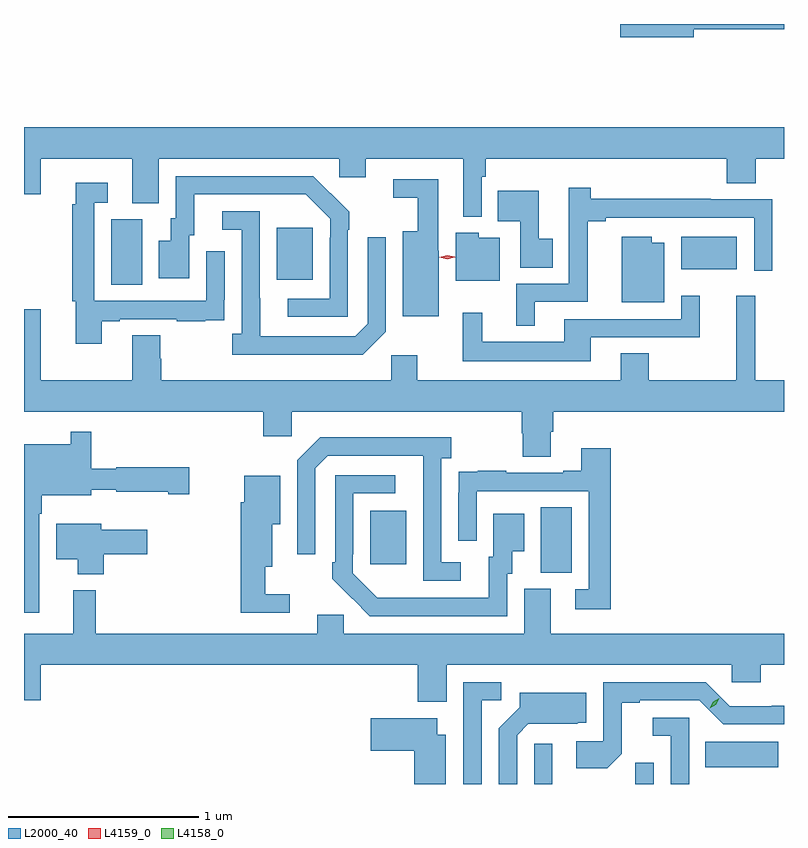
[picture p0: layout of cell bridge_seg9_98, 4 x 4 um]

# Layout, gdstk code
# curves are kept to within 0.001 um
import gdstk
lib = gdstk.Library(unit=1e-6, precision=1e-09)
def R(c, l, rs):  # rectangles x0, y0, x1, y1
    for r in rs: c.add(gdstk.rectangle(r[:2], r[2:], *l))
def P(c, l, *ps):  # polygons
    for p in ps: c.add(gdstk.Polygon(p, *l))
L2000_40 = (2000, 40)
L4158_0 = (4158, 0)
L4159_0 = (4159, 0)

bridge_seg9_98 = lib.new_cell('bridge_seg9_98')
R(bridge_seg9_98, L2000_40, [(647.289,1175.812,647.385,1176.025), (647.821,1175.812,647.919,1175.924), (648.19,1175.9,648.574,1176.034), (647.324,1176.925,647.488,1177.268), (646.427,1176.969,646.615,1177.249), (645.062,1178.44,645.226,1178.784), (645.935,1178.465,646.123,1178.74), (648.062,1178.522,648.355,1178.692)])
P(bridge_seg9_98, L2000_40, [(648.13,1179.784),(648.604,1179.784),(648.604,1179.812),(647.742,1179.812),(647.742,1179.742),(648.13,1179.742)],
  [(647.013,1179.008),(647.033,1179.008),(647.033,1179.104),(648.302,1179.104),(648.302,1178.974),(648.454,1178.974),(648.454,1179.104),(648.604,1179.104),(648.604,1179.268),(644.604,1179.268),(644.604,1178.916),(644.692,1178.916),(644.692,1179.104),(645.173,1179.104),(645.173,1178.869),(645.313,1178.869),(645.313,1179.104),(646.263,1179.104),(646.263,1179.006),(646.402,1179.006),(646.402,1179.104),(646.916,1179.104),(646.916,1178.798),(647.013,1178.798)],
  [(646.308,1178.729),(646.316,1178.729),(646.316,1178.824),(646.126,1179.012),(645.402,1179.012),(645.402,1178.79),(645.377,1178.79),(645.377,1178.671),(645.314,1178.671),(645.314,1178.475),(645.475,1178.475),(645.475,1178.7),(645.499,1178.7),(645.499,1178.916),(646.087,1178.916),(646.215,1178.787),(646.215,1178.687),(646.212,1178.687),(646.212,1178.367),(645.993,1178.367),(645.993,1178.271),(646.308,1178.271)],
  [(646.786,1178.618),(646.785,1178.618),(646.785,1178.994),(646.548,1178.994),(646.548,1178.897),(646.677,1178.897),(646.677,1178.722),(646.598,1178.722),(646.598,1178.273),(646.786,1178.273)],
  [(645.013,1178.247),(645.109,1178.247),(645.109,1178.259),(645.409,1178.259),(645.409,1178.247),(645.557,1178.247),(645.557,1178.253),(645.659,1178.253),(645.659,1178.362),(645.66,1178.362),(645.66,1178.617),(645.564,1178.617),(645.564,1178.355),(644.973,1178.355),(644.973,1178.871),(645.046,1178.871),(645.046,1178.977),(644.876,1178.977),(644.876,1178.864),(644.857,1178.864),(644.857,1178.352),(644.876,1178.352),(644.876,1178.13),(645.013,1178.13)],
  [(647.293,1178.349),(647.57,1178.349),(647.57,1178.773),(647.665,1178.773),(647.665,1178.793),(648.447,1178.793),(648.447,1178.514),(648.543,1178.514),(648.543,1178.889),(648.218,1178.889),(648.218,1178.891),(647.588,1178.891),(647.588,1178.95),(647.472,1178.95),(647.472,1178.445),(647.195,1178.445),(647.195,1178.225),(647.293,1178.225)],
  [(647.387,1178.682),(647.314,1178.682),(647.314,1178.935),(647.098,1178.935),(647.098,1178.774),(647.217,1178.774),(647.217,1178.53),(647.387,1178.53)],
  [(646.509,1178.193),(646.509,1178.689),(646.413,1178.689),(646.413,1178.235),(646.347,1178.169),(645.847,1178.169),(645.846,1178.826),(645.648,1178.826),(645.648,1178.73),(645.75,1178.73),(645.75,1178.182),(645.699,1178.182),(645.699,1178.072),(646.388,1178.072)],
  [(647.107,1178.686),(646.998,1178.686),(646.998,1178.713),(646.877,1178.713),(646.877,1178.462),(647.107,1178.462)],
  [(647.974,1178.662),(647.908,1178.662),(647.908,1178.692),(647.75,1178.692),(647.75,1178.348),(647.974,1178.348)],
  [(647.587,1178.163),(648.161,1178.163),(648.161,1178.383),(648.063,1178.383),(648.063,1178.259),(647.447,1178.259),(647.447,1178.14),(647.017,1178.14),(647.017,1178.293),(646.913,1178.293),(646.913,1178.036),(647.587,1178.036)],
  [(647.377,1177.666),(647.39,1177.666),(647.39,1177.772),(648.604,1177.772),(648.604,1177.936),(648.452,1177.936),(648.452,1178.383),(648.353,1178.383),(648.353,1177.936),(647.892,1177.936),(647.892,1178.078),(647.744,1178.078),(647.744,1177.936),(646.675,1177.936),(646.675,1178.068),(646.536,1178.068),(646.536,1177.936),(645.326,1177.936),(645.326,1178.049),(645.321,1178.049),(645.321,1178.174),(645.173,1178.174),(645.173,1177.936),(644.692,1177.936),(644.692,1178.311),(644.604,1178.311),(644.604,1177.772),(645.863,1177.772),(645.863,1177.641),(646.014,1177.641),(646.014,1177.772),(647.225,1177.772),(647.225,1177.659),(647.23,1177.659),(647.23,1177.534),(647.377,1177.534)],
  [(644.685,1177.235),(644.698,1177.235),(644.698,1177.331),(644.959,1177.331),(644.959,1177.361),(645.09,1177.361),(645.09,1177.349),(645.362,1177.349),(645.362,1177.337),(645.475,1177.337),(645.475,1177.479),(645.09,1177.479),(645.09,1177.471),(644.959,1177.471),(644.959,1177.666),(644.85,1177.666),(644.85,1177.6),(644.604,1177.6),(644.604,1176.714),(644.685,1176.714)],
  [(646.903,1176.978),(646.8,1176.978),(646.8,1177.526),(646.852,1177.526),(646.852,1177.636),(646.162,1177.636),(646.041,1177.515),(646.041,1177.02),(646.137,1177.02),(646.137,1177.473),(646.203,1177.539),(646.704,1177.539),(646.704,1176.882),(646.903,1176.882)],
  [(647.693,1177.579),(647.537,1177.579),(647.537,1177.462),(647.441,1177.462),(647.441,1177.449),(647.141,1177.449),(647.141,1177.462),(646.993,1177.462),(646.993,1177.455),(646.891,1177.455),(646.891,1177.346),(646.89,1177.346),(646.89,1177.092),(646.986,1177.092),(646.986,1177.353),(647.577,1177.353),(647.577,1176.837),(647.505,1176.837),(647.505,1176.732),(647.693,1176.732)],
  [(647.148,1176.918),(647.173,1176.918),(647.173,1177.037),(647.236,1177.037),(647.236,1177.234),(647.075,1177.234),(647.075,1177.008),(647.051,1177.008),(647.051,1176.792),(646.464,1176.793),(646.335,1176.921),(646.335,1177.021),(646.338,1177.021),(646.338,1177.341),(646.558,1177.341),(646.558,1177.437),(646.242,1177.437),(646.242,1176.979),(646.227,1176.979),(646.227,1176.891),(646.424,1176.696),(647.148,1176.696)],
  [(646.003,1176.811),(645.874,1176.811),(645.874,1176.956),(645.91,1176.956),(645.91,1177.178),(645.952,1177.178),(645.952,1177.435),(645.764,1177.435),(645.764,1177.296),(645.745,1177.296),(645.745,1176.714),(646.003,1176.714)],
  [(645.023,1177.021),(645.253,1177.021),(645.253,1177.15),(645.01,1177.15),(645.01,1177.183),(644.774,1177.183),(644.774,1176.995),(644.888,1176.995),(644.888,1176.917),(645.023,1176.917)],
  [(646.828,1176.44),(648.33,1176.44),(648.33,1176.347),(648.482,1176.347),(648.482,1176.44),(648.604,1176.44),(648.604,1176.604),(647.377,1176.604),(647.377,1176.84),(647.237,1176.84),(647.237,1176.604),(646.287,1176.604),(646.287,1176.702),(646.148,1176.702),(646.148,1176.604),(644.981,1176.604),(644.981,1176.832),(644.864,1176.832),(644.864,1176.604),(644.604,1176.604),(644.604,1176.252),(644.692,1176.252),(644.692,1176.44),(646.676,1176.44),(646.676,1176.246),(646.828,1176.246)],
  [(647.751,1175.972),(647.751,1176.24),(647.845,1176.24),(647.845,1176.252),(648.159,1176.252),(648.285,1176.126),(648.604,1176.126),(648.604,1176.224),(648.54,1176.224),(648.54,1176.222),(648.318,1176.222),(648.192,1176.348),(647.652,1176.348),(647.652,1176.036),(647.511,1176.036),(647.511,1175.896),(647.675,1175.896)],
  [(647.013,1176.252),(647.116,1176.252),(647.116,1176.348),(646.917,1176.348),(646.917,1175.812),(647.013,1175.812)],
  [(647.199,1176.069),(647.259,1176.129),(647.516,1176.128),(647.522,1176.134),(647.563,1176.134),(647.563,1176.292),(647.213,1176.292),(647.213,1176.216),(647.103,1176.106),(647.103,1175.812),(647.199,1175.812)],
  [(648.105,1176.162),(647.913,1176.162),(647.913,1176.065),(648.009,1176.065),(648.009,1175.812),(648.105,1175.812)],
  [(646.825,1176.07),(646.78,1176.07),(646.78,1176.157),(646.428,1176.157),(646.428,1175.987),(646.658,1175.987),(646.658,1175.812),(646.825,1175.812)])
P(bridge_seg9_98, L4158_0, [(648.214,1176.21),(648.214,1176.211),(648.231,1176.244),(648.262,1176.263),(648.263,1176.263),(648.263,1176.263),(648.246,1176.23),(648.214,1176.21)])
P(bridge_seg9_98, L4159_0, [(646.832,1178.575),(646.79,1178.584),(646.79,1178.584),(646.79,1178.584),(646.831,1178.595),(646.872,1178.586),(646.873,1178.585),(646.872,1178.585)])

lib.write_gds('bridge_seg9_98.gds')
